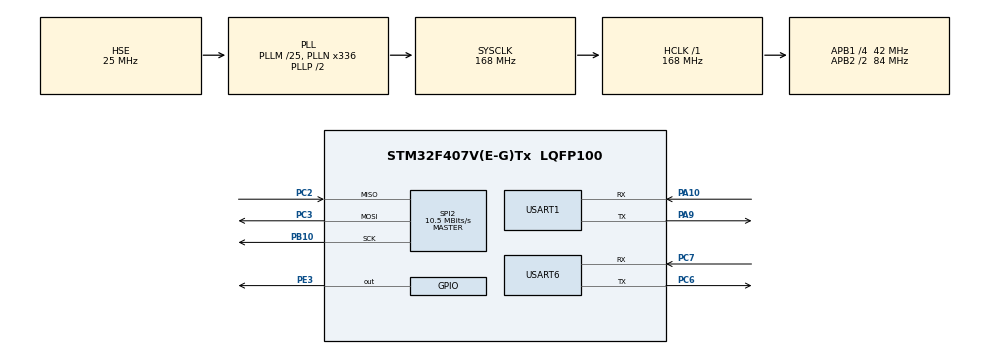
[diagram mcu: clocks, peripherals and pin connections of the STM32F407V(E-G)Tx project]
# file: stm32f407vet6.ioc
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Dma.Request0=USART1_RX
Dma.Request1=USART6_RX
Dma.USART1_RX.0.Direction=DMA_PERIPH_TO_MEMORY
Dma.USART1_RX.0.FIFOMode=DMA_FIFOMODE_DISABLE
Dma.USART1_RX.0.Instance=DMA2_Stream2
Dma.USART1_RX.0.MemDataAlignment=DMA_MDATAALIGN_BYTE
Dma.USART1_RX.0.MemInc=DMA_MINC_ENABLE
Dma.USART1_RX.0.Mode=DMA_NORMAL
Dma.USART1_RX.0.PeriphDataAlignment=DMA_PDATAALIGN_BYTE
Dma.USART1_RX.0.PeriphInc=DMA_PINC_DISABLE
Dma.USART1_RX.0.Priority=DMA_PRIORITY_LOW
Dma.USART6_RX.1.Direction=DMA_PERIPH_TO_MEMORY
Dma.USART6_RX.1.FIFOMode=DMA_FIFOMODE_DISABLE
Dma.USART6_RX.1.Instance=DMA2_Stream1
Dma.USART6_RX.1.MemDataAlignment=DMA_MDATAALIGN_BYTE
Dma.USART6_RX.1.MemInc=DMA_MINC_ENABLE
Dma.USART6_RX.1.Mode=DMA_NORMAL
Dma.USART6_RX.1.PeriphDataAlignment=DMA_PDATAALIGN_BYTE
Dma.USART6_RX.1.PeriphInc=DMA_PINC_DISABLE
Dma.USART6_RX.1.Priority=DMA_PRIORITY_LOW
IWDG.Prescaler=IWDG_PRESCALER_256
IWDG.Reload=1000
Mcu.Family=STM32F4
Mcu.Name=STM32F407V(E-G)Tx
Mcu.Package=LQFP100
NVIC.DMA2_Stream1_IRQn=true\:1\:0\:true\:false\:true\:false\:true\:true
NVIC.DMA2_Stream2_IRQn=true\:1\:0\:true\:false\:true\:false\:true\:true
NVIC.PriorityGroup=NVIC_PRIORITYGROUP_4
NVIC.USART1_IRQn=true\:0\:0\:false\:false\:true\:true\:true\:true
NVIC.USART6_IRQn=true\:0\:0\:false\:false\:true\:true\:true\:true
PA10.Mode=Asynchronous
PA10.Signal=USART1_RX
PA13.Mode=Serial_Wire
PA13.Signal=SYS_JTMS-SWDIO
PA14.Mode=Serial_Wire
PA14.Signal=SYS_JTCK-SWCLK
PA9.Mode=Asynchronous
PA9.Signal=USART1_TX
PB10.Mode=Full_Duplex_Master
PB10.Signal=SPI2_SCK
PC2.Mode=Full_Duplex_Master
PC2.Signal=SPI2_MISO
PC3.Mode=Full_Duplex_Master
PC3.Signal=SPI2_MOSI
PC6.Mode=Asynchronous
PC6.Signal=USART6_TX
PC7.Mode=Asynchronous
PC7.Signal=USART6_RX
PE3.GPIO_PuPd=GPIO_PULLUP
PE3.PinState=GPIO_PIN_SET
PE3.Signal=GPIO_Output
PH0-OSC_IN.Mode=HSE-External-Oscillator
PH0-OSC_IN.Signal=RCC_OSC_IN
PH1-OSC_OUT.Mode=HSE-External-Oscillator
PH1-OSC_OUT.Signal=RCC_OSC_OUT
ProjectManager.HeapSize=0x4000
ProjectManager.StackSize=0x1000
ProjectManager.TargetToolchain=MDK-ARM V5.32
RCC.48MHZClocksFreq_Value=84000000
RCC.AHBFreq_Value=168000000
RCC.APB1CLKDivider=RCC_HCLK_DIV4
RCC.APB1Freq_Value=42000000
RCC.APB1TimFreq_Value=84000000
RCC.APB2CLKDivider=RCC_HCLK_DIV2
RCC.APB2Freq_Value=84000000
RCC.APB2TimFreq_Value=168000000
RCC.CortexFreq_Value=168000000
RCC.HCLKFreq_Value=168000000
RCC.HSE_VALUE=25000000
RCC.HSI_VALUE=16000000
RCC.LSE_VALUE=32768
RCC.PLLM=25
RCC.PLLN=336
RCC.PLLSourceVirtual=RCC_PLLSOURCE_HSE
RCC.SYSCLKFreq_VALUE=168000000
RCC.SYSCLKSource=RCC_SYSCLKSOURCE_PLLCLK
RCC.VCOOutputFreq_Value=336000000
SPI2.BaudRatePrescaler=SPI_BAUDRATEPRESCALER_4
SPI2.CLKPhase=SPI_PHASE_2EDGE
SPI2.CLKPolarity=SPI_POLARITY_HIGH
SPI2.CalculateBaudRate=10.5 MBits/s
SPI2.Direction=SPI_DIRECTION_2LINES
SPI2.Mode=SPI_MODE_MASTER
SPI2.VirtualType=VM_MASTER
USART1.VirtualMode=VM_ASYNC
USART6.VirtualMode=VM_ASYNC
VP_IWDG_VS_IWDG.Mode=IWDG_Activate
board=custom

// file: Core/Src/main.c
/* USER CODE BEGIN Header */
/**
  ******************************************************************************
  * @file           : main.c
  * @brief          : Main program body
  ******************************************************************************
  * @attention
  *
  * Copyright (c) 2025 STMicroelectronics.
  * All rights reserved.
  *
  * This software is licensed under terms that can be found in the LICENSE file
  * in the root directory of this software component.
  * If no LICENSE file comes with this software, it is provided AS-IS.
  *
  ******************************************************************************
  */
/* USER CODE END Header */
#include "main.h"
#include "dma.h"
#include "iwdg.h"
#include "spi.h"
#include "usart.h"
#include "gpio.h"

/* USER CODE BEGIN Includes */
#include "bootloader.h"
#include "flash.h"
#include <stdio.h>
#include <string.h>
#include "uart_interact.h"
#include "log.h"
//#include "w25qxx.h"
/* USER CODE END Includes */

/* USER CODE BEGIN PV */
static const char* TAG = "main";
/* USER CODE END PV */

void SystemClock_Config(void);

int main(void)
{

  /* MCU Configuration--------------------------------------------------------*/

  /* Reset of all peripherals, Initializes the Flash interface and the Systick. */
  HAL_Init();

  /* Configure the system clock */
  SystemClock_Config();

  /* Initialize all configured peripherals */
  MX_GPIO_Init();
  MX_DMA_Init();
  MX_USART1_UART_Init();
  MX_USART6_UART_Init();
  MX_SPI2_Init();
  /* USER CODE BEGIN 2 */
  printf("\r\n");
  LOG_INFO(TAG, "This is BootLoader code");
//  w25qxx_test();
  bootloader_init();

  check_wakeup_singal();

  LOG_INFO(TAG, "Checking update flag ...");
  int res = bootloader_checkupdate();
  if(res == 0){
	LOG_INFO(TAG, "No version to update, ready to launch APP1");
    HAL_UART_MspDeInit(&huart1);   // 清除外设
	HAL_UART_MspDeInit(&huart6);
	bootloader_executeapp();
  }else{
	LOG_INFO(TAG, "Updating new version ...");
    bootloader_updateapp();
	LOG_INFO(TAG, "Ready to launch APP");
	HAL_UART_MspDeInit(&huart1);   // 清除外设
	HAL_UART_MspDeInit(&huart6);
	MX_IWDG_Init();// 开启看门狗（8s）
    bootloader_executeapp();
  }

  /* USER CODE END 2 */

  /* Infinite loop */
  while (1)
  {

  }
}

void SystemClock_Config(void)
{
  RCC_OscInitTypeDef RCC_OscInitStruct = {0};
  RCC_ClkInitTypeDef RCC_ClkInitStruct = {0};

  /** Configure the main internal regulator output voltage
  */
  __HAL_RCC_PWR_CLK_ENABLE();
  __HAL_PWR_VOLTAGESCALING_CONFIG(PWR_REGULATOR_VOLTAGE_SCALE1);

  /** Initializes the RCC Oscillators according to the specified parameters
  * in the RCC_OscInitTypeDef structure.
  */
  RCC_OscInitStruct.OscillatorType = RCC_OSCILLATORTYPE_LSI|RCC_OSCILLATORTYPE_HSE;
  RCC_OscInitStruct.HSEState = RCC_HSE_ON;
  RCC_OscInitStruct.LSIState = RCC_LSI_ON;
  RCC_OscInitStruct.PLL.PLLState = RCC_PLL_ON;
  RCC_OscInitStruct.PLL.PLLSource = RCC_PLLSOURCE_HSE;
  RCC_OscInitStruct.PLL.PLLM = 25;
  RCC_OscInitStruct.PLL.PLLN = 336;
  RCC_OscInitStruct.PLL.PLLP = RCC_PLLP_DIV2;
  RCC_OscInitStruct.PLL.PLLQ = 4;
  if (HAL_RCC_OscConfig(&RCC_OscInitStruct) != HAL_OK)
  {
    Error_Handler();
  }

  /** Initializes the CPU, AHB and APB buses clocks
  */
  RCC_ClkInitStruct.ClockType = RCC_CLOCKTYPE_HCLK|RCC_CLOCKTYPE_SYSCLK
                              |RCC_CLOCKTYPE_PCLK1|RCC_CLOCKTYPE_PCLK2;
  RCC_ClkInitStruct.SYSCLKSource = RCC_SYSCLKSOURCE_PLLCLK;
  RCC_ClkInitStruct.AHBCLKDivider = RCC_SYSCLK_DIV1;
  RCC_ClkInitStruct.APB1CLKDivider = RCC_HCLK_DIV4;
  RCC_ClkInitStruct.APB2CLKDivider = RCC_HCLK_DIV2;

  if (HAL_RCC_ClockConfig(&RCC_ClkInitStruct, FLASH_LATENCY_5) != HAL_OK)
  {
    Error_Handler();
  }
}

void Error_Handler(void)
{
  __disable_irq();
  while (1)
  {
  }
}
